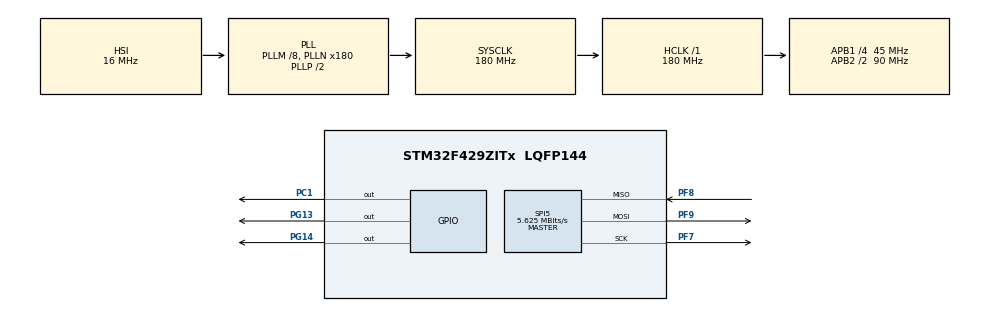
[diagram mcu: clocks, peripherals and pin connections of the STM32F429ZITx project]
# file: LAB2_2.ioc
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Mcu.Family=STM32F4
Mcu.Name=STM32F429ZITx
Mcu.Package=LQFP144
NVIC.PriorityGroup=NVIC_PRIORITYGROUP_4
PA13.Mode=Serial_Wire
PA13.Signal=SYS_JTMS-SWDIO
PA14.Mode=Serial_Wire
PA14.Signal=SYS_JTCK-SWCLK
PC1.Signal=GPIO_Output
PF7.Mode=Full_Duplex_Master
PF7.Signal=SPI5_SCK
PF8.Mode=Full_Duplex_Master
PF8.Signal=SPI5_MISO
PF9.Mode=Full_Duplex_Master
PF9.Signal=SPI5_MOSI
PG13.Signal=GPIO_Output
PG14.Signal=GPIO_Output
PH0/OSC_IN.Mode=HSE-External-Oscillator
PH0/OSC_IN.Signal=RCC_OSC_IN
PH1/OSC_OUT.Mode=HSE-External-Oscillator
PH1/OSC_OUT.Signal=RCC_OSC_OUT
ProjectManager.HeapSize=0x200
ProjectManager.StackSize=0x400
ProjectManager.TargetToolchain=STM32CubeIDE
RCC.48MHZClocksFreq_Value=90000000
RCC.AHBFreq_Value=180000000
RCC.APB1CLKDivider=RCC_HCLK_DIV4
RCC.APB1Freq_Value=45000000
RCC.APB1TimFreq_Value=90000000
RCC.APB2CLKDivider=RCC_HCLK_DIV2
RCC.APB2Freq_Value=90000000
RCC.APB2TimFreq_Value=180000000
RCC.CortexFreq_Value=180000000
RCC.HCLKFreq_Value=180000000
RCC.HSE_VALUE=8000000
RCC.HSI_VALUE=16000000
RCC.LSE_VALUE=32768
RCC.PLLM=8
RCC.PLLN=180
RCC.SYSCLKFreq_VALUE=180000000
RCC.SYSCLKSource=RCC_SYSCLKSOURCE_PLLCLK
RCC.VCOOutputFreq_Value=360000000
SPI5.BaudRatePrescaler=SPI_BAUDRATEPRESCALER_16
SPI5.CalculateBaudRate=5.625 MBits/s
SPI5.Direction=SPI_DIRECTION_2LINES
SPI5.Mode=SPI_MODE_MASTER
SPI5.VirtualType=VM_MASTER
board=custom

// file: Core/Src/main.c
/* USER CODE BEGIN Header */
/**
  ******************************************************************************
  * @file           : main.c
  * @brief          : Main program body
  ******************************************************************************
  * @attention
  *
  * Copyright (c) 2023 STMicroelectronics.
  * All rights reserved.
  *
  * This software is licensed under terms that can be found in the LICENSE file
  * in the root directory of this software component.
  * If no LICENSE file comes with this software, it is provided AS-IS.
  *
  ******************************************************************************
  */
/* USER CODE END Header */
#include "main.h"

/* USER CODE BEGIN Includes */
#include "stm32f429i_discovery_sdram.h"
#include "stm32f429i_discovery_lcd.h"
#include "stm32f429i_discovery_gyroscope.h"
/* USER CODE END Includes */

SPI_HandleTypeDef hspi5;
float xyz_data_float_ptr[3];
//volatile uint32_t x, y, z;
char str_x[12];
char str_y[12];
char str_z[12];

/* USER CODE BEGIN PV */
volatile uint32_t value;

/* USER CODE END PV */

void SystemClock_Config(void);
static void MX_GPIO_Init(void);
static void MX_SPI5_Init(void);

int main(void)
{

  /* MCU Configuration--------------------------------------------------------*/

  /* Reset of all peripherals, Initializes the Flash interface and the Systick. */
  HAL_Init();

  /* Configure the system clock */
  SystemClock_Config();

  /* Initialize all configured peripherals */
  MX_GPIO_Init();
  MX_SPI5_Init();
  /* USER CODE BEGIN 2 */
  BSP_GYRO_Init();
  BSP_SDRAM_Init();
  *((uint32_t*)SDRAM_DEVICE_ADDR)=0x12345678;
  value=*((uint32_t*)SDRAM_DEVICE_ADDR);

  BSP_LCD_Init();//init LCD
  //set the layer buffer address into SDRAM
  BSP_LCD_LayerDefaultInit(1, SDRAM_DEVICE_ADDR);
  BSP_LCD_SelectLayer(1);//select  on  which  layer  we write
  BSP_LCD_DisplayOn();//turn on LCD
  BSP_LCD_Clear(LCD_COLOR_BLUE);//clear the LCD on blue color
  BSP_LCD_SetBackColor(LCD_COLOR_BLUE);//set       text background color
  BSP_LCD_SetTextColor(LCD_COLOR_WHITE);//set text color
  //write text
  /*BSP_LCD_DisplayStringAtLine(1,"CE224.O12-LAB2");
  BSP_LCD_DisplayStringAtLine(2,"An-Ngoc-Luu");
  BSP_LCD_DisplayStringAtLine(3,"STM32F4-Disc");
  BSP_LCD_DisplayStringAtLine(5,"**************");
  BSP_LCD_DisplayStringAtLine(6,"X:");
  BSP_LCD_DisplayStringAtLine(8,"Y:");
  BSP_LCD_DisplayStringAtLine(10,"Z:");*/
  BSP_LCD_FillCircle(120, 160, 20);
  /* USER CODE END 2 */

  /* Infinite loop */
  /* USER CODE BEGIN WHILE */
  while (1)
  {
	  BSP_GYRO_GetXYZ(xyz_data_float_ptr);

	  sprintf(str_x, "%.3f", xyz_data_float_ptr[0]);
	  BSP_LCD_DisplayStringAtLine(7, str_x);

	  sprintf(str_y, "%.3f", xyz_data_float_ptr[1]);
	  BSP_LCD_DisplayStringAtLine(9, str_y);

	  sprintf(str_z, "%.3f", xyz_data_float_ptr[2]);
	  BSP_LCD_DisplayStringAtLine(11, str_z);

	  HAL_Delay(100);
    /* USER CODE END WHILE */

  }
}

void SystemClock_Config(void)
{
  RCC_OscInitTypeDef RCC_OscInitStruct = {0};
  RCC_ClkInitTypeDef RCC_ClkInitStruct = {0};

  /** Configure the main internal regulator output voltage
  */
  __HAL_RCC_PWR_CLK_ENABLE();
  __HAL_PWR_VOLTAGESCALING_CONFIG(PWR_REGULATOR_VOLTAGE_SCALE1);

  /** Initializes the RCC Oscillators according to the specified parameters
  * in the RCC_OscInitTypeDef structure.
  */
  RCC_OscInitStruct.OscillatorType = RCC_OSCILLATORTYPE_HSI;
  RCC_OscInitStruct.HSIState = RCC_HSI_ON;
  RCC_OscInitStruct.HSICalibrationValue = RCC_HSICALIBRATION_DEFAULT;
  RCC_OscInitStruct.PLL.PLLState = RCC_PLL_ON;
  RCC_OscInitStruct.PLL.PLLSource = RCC_PLLSOURCE_HSI;
  RCC_OscInitStruct.PLL.PLLM = 8;
  RCC_OscInitStruct.PLL.PLLN = 180;
  RCC_OscInitStruct.PLL.PLLP = RCC_PLLP_DIV2;
  RCC_OscInitStruct.PLL.PLLQ = 4;
  if (HAL_RCC_OscConfig(&RCC_OscInitStruct) != HAL_OK)
  {
    Error_Handler();
  }

  /** Activate the Over-Drive mode
  */
  if (HAL_PWREx_EnableOverDrive() != HAL_OK)
  {
    Error_Handler();
  }

  /** Initializes the CPU, AHB and APB buses clocks
  */
  RCC_ClkInitStruct.ClockType = RCC_CLOCKTYPE_HCLK|RCC_CLOCKTYPE_SYSCLK
                              |RCC_CLOCKTYPE_PCLK1|RCC_CLOCKTYPE_PCLK2;
  RCC_ClkInitStruct.SYSCLKSource = RCC_SYSCLKSOURCE_PLLCLK;
  RCC_ClkInitStruct.AHBCLKDivider = RCC_SYSCLK_DIV1;
  RCC_ClkInitStruct.APB1CLKDivider = RCC_HCLK_DIV4;
  RCC_ClkInitStruct.APB2CLKDivider = RCC_HCLK_DIV2;

  if (HAL_RCC_ClockConfig(&RCC_ClkInitStruct, FLASH_LATENCY_5) != HAL_OK)
  {
    Error_Handler();
  }
}

static void MX_SPI5_Init(void)
{

  /* SPI5 parameter configuration*/
  hspi5.Instance = SPI5;
  hspi5.Init.Mode = SPI_MODE_MASTER;
  hspi5.Init.Direction = SPI_DIRECTION_2LINES;
  hspi5.Init.DataSize = SPI_DATASIZE_8BIT;
  hspi5.Init.CLKPolarity = SPI_POLARITY_LOW;
  hspi5.Init.CLKPhase = SPI_PHASE_1EDGE;
  hspi5.Init.NSS = SPI_NSS_SOFT;
  hspi5.Init.BaudRatePrescaler = SPI_BAUDRATEPRESCALER_16;
  hspi5.Init.FirstBit = SPI_FIRSTBIT_MSB;
  hspi5.Init.TIMode = SPI_TIMODE_DISABLE;
  hspi5.Init.CRCCalculation = SPI_CRCCALCULATION_DISABLE;
  hspi5.Init.CRCPolynomial = 10;
  if (HAL_SPI_Init(&hspi5) != HAL_OK)
  {
    Error_Handler();
  }

}

static void MX_GPIO_Init(void)
{
  GPIO_InitTypeDef GPIO_InitStruct = {0};

  /* GPIO Ports Clock Enable */
  __HAL_RCC_GPIOF_CLK_ENABLE();
  __HAL_RCC_GPIOH_CLK_ENABLE();
  __HAL_RCC_GPIOC_CLK_ENABLE();
  __HAL_RCC_GPIOA_CLK_ENABLE();
  __HAL_RCC_GPIOG_CLK_ENABLE();

  /*Configure GPIO pin Output Level */
  HAL_GPIO_WritePin(GPIOC, GPIO_PIN_1, GPIO_PIN_RESET);

  /*Configure GPIO pin Output Level */
  HAL_GPIO_WritePin(GPIOG, GPIO_PIN_13|GPIO_PIN_14, GPIO_PIN_RESET);

  /*Configure GPIO pin : PC1 */
  GPIO_InitStruct.Pin = GPIO_PIN_1;
  GPIO_InitStruct.Mode = GPIO_MODE_OUTPUT_PP;
  GPIO_InitStruct.Pull = GPIO_NOPULL;
  GPIO_InitStruct.Speed = GPIO_SPEED_FREQ_LOW;
  HAL_GPIO_Init(GPIOC, &GPIO_InitStruct);

  /*Configure GPIO pins : PG13 PG14 */
  GPIO_InitStruct.Pin = GPIO_PIN_13|GPIO_PIN_14;
  GPIO_InitStruct.Mode = GPIO_MODE_OUTPUT_PP;
  GPIO_InitStruct.Pull = GPIO_NOPULL;
  GPIO_InitStruct.Speed = GPIO_SPEED_FREQ_LOW;
  HAL_GPIO_Init(GPIOG, &GPIO_InitStruct);

}

void Error_Handler(void)
{
  __disable_irq();
  while (1)
  {
  }
}
